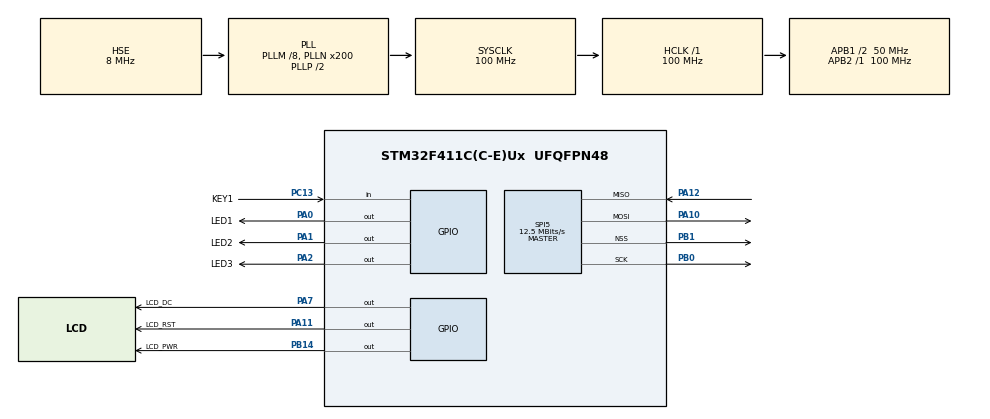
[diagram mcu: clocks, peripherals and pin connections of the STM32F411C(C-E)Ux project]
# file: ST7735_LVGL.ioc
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Mcu.Family=STM32F4
Mcu.Name=STM32F411C(C-E)Ux
Mcu.Package=UFQFPN48
NVIC.PriorityGroup=NVIC_PRIORITYGROUP_2
NVIC.TIM1_UP_TIM10_IRQn=true\:1\:1\:true\:false\:true\:true\:true
PA0-WKUP.GPIO_Label=LED1
PA0-WKUP.PinState=GPIO_PIN_SET
PA0-WKUP.Signal=GPIO_Output
PA1.GPIO_Label=LED2
PA1.PinState=GPIO_PIN_SET
PA1.Signal=GPIO_Output
PA10.Mode=Full_Duplex_Master
PA10.Signal=SPI5_MOSI
PA11.GPIO_Label=LCD_RST
PA11.GPIO_Speed=GPIO_SPEED_FREQ_VERY_HIGH
PA11.Signal=GPIO_Output
PA12.Mode=Full_Duplex_Master
PA12.Signal=SPI5_MISO
PA13.Mode=Serial_Wire
PA13.Signal=SYS_JTMS-SWDIO
PA14.Mode=Serial_Wire
PA14.Signal=SYS_JTCK-SWCLK
PA2.GPIO_Label=LED3
PA2.PinState=GPIO_PIN_SET
PA2.Signal=GPIO_Output
PA7.GPIO_Label=LCD_DC
PA7.GPIO_Speed=GPIO_SPEED_FREQ_VERY_HIGH
PA7.Signal=GPIO_Output
PB0.Mode=Full_Duplex_Master
PB0.Signal=SPI5_SCK
PB1.Mode=NSS_Signal_Hard_Output
PB1.Signal=SPI5_NSS
PB14.GPIO_Label=LCD_PWR
PB14.Signal=GPIO_Output
PC13-ANTI_TAMP.GPIO_Label=KEY1
PC13-ANTI_TAMP.GPIO_PuPd=GPIO_PULLUP
PC13-ANTI_TAMP.Signal=GPIO_Input
PH0\ -\ OSC_IN.Mode=HSE-External-Oscillator
PH0\ -\ OSC_IN.Signal=RCC_OSC_IN
PH1\ -\ OSC_OUT.Mode=HSE-External-Oscillator
PH1\ -\ OSC_OUT.Signal=RCC_OSC_OUT
ProjectManager.HeapSize=0x800
ProjectManager.StackSize=0x800
ProjectManager.TargetToolchain=MDK-ARM V5.27
RCC.48MHZClocksFreq_Value=50000000
RCC.AHBFreq_Value=100000000
RCC.APB1CLKDivider=RCC_HCLK_DIV2
RCC.APB1Freq_Value=50000000
RCC.APB1TimFreq_Value=100000000
RCC.APB2Freq_Value=100000000
RCC.APB2TimFreq_Value=100000000
RCC.CortexFreq_Value=100000000
RCC.HCLKFreq_Value=100000000
RCC.HSE_VALUE=8000000
RCC.HSI_VALUE=16000000
RCC.LSE_VALUE=32768
RCC.PLLM=8
RCC.PLLN=200
RCC.PLLSourceVirtual=RCC_PLLSOURCE_HSE
RCC.SYSCLKFreq_VALUE=100000000
RCC.SYSCLKSource=RCC_SYSCLKSOURCE_PLLCLK
RCC.VCOOutputFreq_Value=200000000
SPI5.BaudRatePrescaler=SPI_BAUDRATEPRESCALER_8
SPI5.CalculateBaudRate=12.5 MBits/s
SPI5.Direction=SPI_DIRECTION_2LINES
SPI5.Mode=SPI_MODE_MASTER
SPI5.VirtualNSS=VM_NSSHARD
SPI5.VirtualType=VM_MASTER
TIM10.Period=50000-1
TIM10.Prescaler=2-1
VP_TIM10_VS_ClockSourceINT.Mode=Enable_Timer
board=custom

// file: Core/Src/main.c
/* USER CODE BEGIN Header */
/**
  ******************************************************************************
  * @file           : main.c
  * @brief          : Main program body
  ******************************************************************************
  * @attention
  *
  * <h2><center>&copy; Copyright (c) 2021 STMicroelectronics.
  * All rights reserved.</center></h2>
  *
  * This software component is licensed by ST under BSD 3-Clause license,
  * the "License"; You may not use this file except in compliance with the
  * License. You may obtain a copy of the License at:
  *                        opensource.org/licenses/BSD-3-Clause
  *
  ******************************************************************************
  */
/* USER CODE END Header */
#include "main.h"
#include "spi.h"
#include "tim.h"
#include "gpio.h"

/* USER CODE BEGIN Includes */
#include <lvgl.h>
#include "lv_port_disp.h"
/* USER CODE END Includes */

/* USER CODE BEGIN PTD */
static void lv_ex_label_1(void)
{
    lv_obj_t * label2 = lv_label_create(lv_scr_act(), NULL);
    lv_label_set_recolor(label2, true);
    lv_label_set_long_mode(label2, LV_LABEL_LONG_SROLL_CIRC); /*Circular scroll*/
    lv_obj_set_width(label2, 100);
    // Hello world ! Trisuborn.
    lv_label_set_text(label2, "#ff0000 Hello# #00ff00 world ! Trisuborn.#");
    lv_obj_align(label2, NULL, LV_ALIGN_CENTER, 0, 0);
}
void lvgl_button_style_test(void)
{
    static lv_anim_path_t path_overshoot;
    lv_anim_path_init(&path_overshoot);
    lv_anim_path_set_cb(&path_overshoot, lv_anim_path_overshoot);

    static lv_anim_path_t path_ease_out;
    lv_anim_path_init(&path_ease_out);
    lv_anim_path_set_cb(&path_ease_out, lv_anim_path_ease_out);

    static lv_anim_path_t path_ease_in_out;
    lv_anim_path_init(&path_ease_in_out);
    lv_anim_path_set_cb(&path_ease_in_out, lv_anim_path_ease_in_out);

    /*Gum-like button*/
    static lv_style_t style_gum;
    lv_style_init(&style_gum);
    lv_style_set_transform_width(&style_gum, LV_STATE_PRESSED, 10);
    lv_style_set_transform_height(&style_gum, LV_STATE_PRESSED, -10);
    lv_style_set_value_letter_space(&style_gum, LV_STATE_PRESSED, 5);
    lv_style_set_transition_path(&style_gum, LV_STATE_DEFAULT, &path_overshoot);
    lv_style_set_transition_path(&style_gum, LV_STATE_PRESSED, &path_ease_in_out);
    lv_style_set_transition_time(&style_gum, LV_STATE_DEFAULT, 250);
    lv_style_set_transition_delay(&style_gum, LV_STATE_DEFAULT, 100);
    lv_style_set_transition_prop_1(&style_gum, LV_STATE_DEFAULT, LV_STYLE_TRANSFORM_WIDTH);
    lv_style_set_transition_prop_2(&style_gum, LV_STATE_DEFAULT, LV_STYLE_TRANSFORM_HEIGHT);
    lv_style_set_transition_prop_3(&style_gum, LV_STATE_DEFAULT, LV_STYLE_VALUE_LETTER_SPACE);

    lv_obj_t* btn1 = lv_btn_create(lv_scr_act(), NULL);
    lv_obj_align(btn1, NULL, LV_ALIGN_CENTER, 0, -80);
    lv_obj_add_style(btn1, LV_BTN_PART_MAIN, &style_gum);

    /*Instead of creating a label add a values string*/
    lv_obj_set_style_local_value_str(btn1, LV_BTN_PART_MAIN, LV_STATE_DEFAULT, "Gum");

    /*Halo on press*/
    static lv_style_t style_halo;
    lv_style_init(&style_halo);
    lv_style_set_transition_time(&style_halo, LV_STATE_PRESSED, 400);
    lv_style_set_transition_time(&style_halo, LV_STATE_DEFAULT, 0);
    lv_style_set_transition_delay(&style_halo, LV_STATE_DEFAULT, 200);
    lv_style_set_outline_width(&style_halo, LV_STATE_DEFAULT, 0);
    lv_style_set_outline_width(&style_halo, LV_STATE_PRESSED, 20);
    lv_style_set_outline_opa(&style_halo, LV_STATE_DEFAULT, LV_OPA_COVER);
    lv_style_set_outline_opa(&style_halo, LV_STATE_FOCUSED, LV_OPA_COVER);   /*Just to be sure, the theme might use it*/
    lv_style_set_outline_opa(&style_halo, LV_STATE_PRESSED, LV_OPA_TRANSP);
    lv_style_set_transition_prop_1(&style_halo, LV_STATE_DEFAULT, LV_STYLE_OUTLINE_OPA);
    lv_style_set_transition_prop_2(&style_halo, LV_STATE_DEFAULT, LV_STYLE_OUTLINE_WIDTH);

    lv_obj_t* btn2 = lv_btn_create(lv_scr_act(), NULL);
    lv_obj_align(btn2, NULL, LV_ALIGN_CENTER, 0, 0);
    lv_obj_add_style(btn2, LV_BTN_PART_MAIN, &style_halo);
    lv_obj_set_style_local_value_str(btn2, LV_BTN_PART_MAIN, LV_STATE_DEFAULT, "Halo");

    /*Ripple on press*/
    static lv_style_t style_ripple;
    lv_style_init(&style_ripple);
    lv_style_set_transition_time(&style_ripple, LV_STATE_PRESSED, 300);
    lv_style_set_transition_time(&style_ripple, LV_STATE_DEFAULT, 0);
    lv_style_set_transition_delay(&style_ripple, LV_STATE_DEFAULT, 300);
    lv_style_set_bg_opa(&style_ripple, LV_STATE_DEFAULT, 0);
    lv_style_set_bg_opa(&style_ripple, LV_STATE_PRESSED, LV_OPA_80);
    lv_style_set_border_width(&style_ripple, LV_STATE_DEFAULT, 0);
    lv_style_set_outline_width(&style_ripple, LV_STATE_DEFAULT, 0);
    lv_style_set_transform_width(&style_ripple, LV_STATE_DEFAULT, -20);
    lv_style_set_transform_height(&style_ripple, LV_STATE_DEFAULT, -20);
    lv_style_set_transform_width(&style_ripple, LV_STATE_PRESSED, 0);
    lv_style_set_transform_height(&style_ripple, LV_STATE_PRESSED, 0);

    lv_style_set_transition_path(&style_ripple, LV_STATE_DEFAULT, &path_ease_out);
    lv_style_set_transition_prop_1(&style_ripple, LV_STATE_DEFAULT, LV_STYLE_BG_OPA);
    lv_style_set_transition_prop_2(&style_ripple, LV_STATE_DEFAULT, LV_STYLE_TRANSFORM_WIDTH);
    lv_style_set_transition_prop_3(&style_ripple, LV_STATE_DEFAULT, LV_STYLE_TRANSFORM_HEIGHT);

    lv_obj_t* btn3 = lv_btn_create(lv_scr_act(), NULL);
    lv_obj_align(btn3, NULL, LV_ALIGN_CENTER, 0, 80);
    lv_obj_add_style(btn3, LV_BTN_PART_MAIN, &style_ripple);
    lv_obj_set_style_local_value_str(btn3, LV_BTN_PART_MAIN, LV_STATE_DEFAULT, "Ripple");
}
/* USER CODE END PTD */

void SystemClock_Config(void);

int main(void)
{

  /* MCU Configuration--------------------------------------------------------*/

  /* Reset of all peripherals, Initializes the Flash interface and the Systick. */
  HAL_Init();

  /* Configure the system clock */
  SystemClock_Config();

  /* Initialize all configured peripherals */
  MX_GPIO_Init();
  MX_SPI5_Init();
  MX_TIM10_Init();
  /* USER CODE BEGIN 2 */
	HAL_GPIO_WritePin(GPIOA,LED3_Pin,GPIO_PIN_RESET);
	LCD_Init(2, 1);
	LCD_Rect_Fill(0, 0, 160, 128, BLACK);
	//LCD_Init();
	//LCD_Clear(CYAN);
	lv_init();
	lv_port_disp_init();
	lv_ex_label_1();
	//lvgl_button_style_test();
	HAL_GPIO_WritePin(GPIOA,LED3_Pin,GPIO_PIN_SET);
	HAL_TIM_Base_Start_IT(&htim10);
  /* USER CODE END 2 */

  /* Infinite loop */
  while (1)
  {

    /* USER CODE BEGIN 3 */
		//lv_tick_inc(1);
		lv_task_handler();
		HAL_Delay(1);
  }
  /* USER CODE END 3 */
}

void SystemClock_Config(void)
{
  RCC_OscInitTypeDef RCC_OscInitStruct = {0};
  RCC_ClkInitTypeDef RCC_ClkInitStruct = {0};

  /** Configure the main internal regulator output voltage
  */
  __HAL_RCC_PWR_CLK_ENABLE();
  __HAL_PWR_VOLTAGESCALING_CONFIG(PWR_REGULATOR_VOLTAGE_SCALE1);
  /** Initializes the RCC Oscillators according to the specified parameters
  * in the RCC_OscInitTypeDef structure.
  */
  RCC_OscInitStruct.OscillatorType = RCC_OSCILLATORTYPE_HSE;
  RCC_OscInitStruct.HSEState = RCC_HSE_ON;
  RCC_OscInitStruct.PLL.PLLState = RCC_PLL_ON;
  RCC_OscInitStruct.PLL.PLLSource = RCC_PLLSOURCE_HSE;
  RCC_OscInitStruct.PLL.PLLM = 8;
  RCC_OscInitStruct.PLL.PLLN = 200;
  RCC_OscInitStruct.PLL.PLLP = RCC_PLLP_DIV2;
  RCC_OscInitStruct.PLL.PLLQ = 4;
  if (HAL_RCC_OscConfig(&RCC_OscInitStruct) != HAL_OK)
  {
    Error_Handler();
  }
  /** Initializes the CPU, AHB and APB buses clocks
  */
  RCC_ClkInitStruct.ClockType = RCC_CLOCKTYPE_HCLK|RCC_CLOCKTYPE_SYSCLK
                              |RCC_CLOCKTYPE_PCLK1|RCC_CLOCKTYPE_PCLK2;
  RCC_ClkInitStruct.SYSCLKSource = RCC_SYSCLKSOURCE_PLLCLK;
  RCC_ClkInitStruct.AHBCLKDivider = RCC_SYSCLK_DIV1;
  RCC_ClkInitStruct.APB1CLKDivider = RCC_HCLK_DIV2;
  RCC_ClkInitStruct.APB2CLKDivider = RCC_HCLK_DIV1;

  if (HAL_RCC_ClockConfig(&RCC_ClkInitStruct, FLASH_LATENCY_3) != HAL_OK)
  {
    Error_Handler();
  }
}

/* USER CODE BEGIN 4 */
void HAL_TIM_PeriodElapsedCallback(TIM_HandleTypeDef *htim)
{
 if(htim == (&htim10))
 {
	lv_tick_inc(1);
	//HAL_GPIO_TogglePin(GPIOA,LED2_Pin);
 }
}
/* USER CODE END 4 */

void Error_Handler(void)
{
  /* USER CODE BEGIN Error_Handler_Debug */
  /* User can add his own implementation to report the HAL error return state */
  __disable_irq();
  while (1)
  {
		HAL_Delay(500);
		HAL_GPIO_TogglePin(GPIOA,LED1_Pin);
  }
  /* USER CODE END Error_Handler_Debug */
}

/************************ (C) COPYRIGHT STMicroelectronics *****END OF FILE****/
